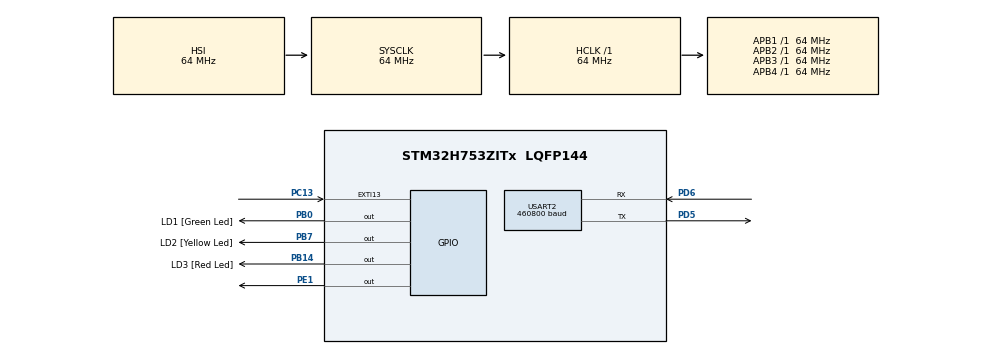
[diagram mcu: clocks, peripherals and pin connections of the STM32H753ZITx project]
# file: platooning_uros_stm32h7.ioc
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CORTEX_M7.CPU_DCache=Disabled
CORTEX_M7.CPU_ICache=Disabled
CORTEX_M7.MPU_Control=__NULL
CORTEX_M7.default_mode_Activation=1
FREERTOS.Tasks01=uROSTask,24,3000,StartUROSTask,Default,NULL,Dynamic,NULL,NULL;ctrlTask,23,128,StartCrtlTask,Default,NULL,Dynamic,NULL,NULL
Mcu.Family=STM32H7
Mcu.Name=STM32H753ZITx
Mcu.Package=LQFP144
NVIC.EXTI15_10_IRQn=true\:5\:0\:false\:false\:true\:true\:true\:true\:true
NVIC.PriorityGroup=NVIC_PRIORITYGROUP_4
NVIC.TIM1_UP_IRQn=true\:15\:0\:false\:false\:true\:false\:false\:true\:true
NVIC.TimeBase=TIM1_UP_IRQn
NVIC.TimeBaseIP=TIM1
NVIC.USART2_IRQn=true\:5\:0\:false\:false\:true\:true\:true\:true\:true
PB0.GPIO_Label=LD1 [Green Led]
PB0.Signal=GPIO_Output
PB14.GPIO_Label=LD3 [Red Led]
PB14.Signal=GPIO_Output
PB7.GPIO_Label=LD2 [Yellow Led]
PB7.Signal=GPIO_Output
PC13.GPIO_ModeDefaultEXTI=GPIO_MODE_IT_RISING_FALLING
PC13.Signal=GPXTI13
PC14-OSC32_IN\ (OSC32_IN).Signal=RCC_OSC32_IN
PC15-OSC32_OUT\ (OSC32_OUT).Signal=RCC_OSC32_OUT
PD5.Mode=Asynchronous
PD5.Signal=USART2_TX
PD6.Mode=Asynchronous
PD6.Signal=USART2_RX
PD8.GPIO_Label=STLINK_RX
PD8.Signal=USART3_TX
PD9.GPIO_Label=STLINK_TX
PD9.Signal=USART3_RX
PE1.Signal=GPIO_Output
PH0-OSC_IN\ (PH0).Mode=HSE-External-Oscillator
PH0-OSC_IN\ (PH0).Signal=RCC_OSC_IN
PH1-OSC_OUT\ (PH1).Mode=HSE-External-Oscillator
PH1-OSC_OUT\ (PH1).Signal=RCC_OSC_OUT
ProjectManager.HeapSize=0x200
ProjectManager.StackSize=0x400
ProjectManager.TargetToolchain=Makefile
RCC.ADCFreq_Value=129000000
RCC.APB1Freq_Value=64000000
RCC.APB2Freq_Value=64000000
RCC.APB3Freq_Value=64000000
RCC.APB4Freq_Value=64000000
RCC.CortexFreq_Value=64000000
RCC.DIVM1=1
RCC.DIVN1=24
RCC.DIVQ1=4
RCC.HCLKFreq_Value=64000000
RCC.HSE_VALUE=8000000
RCC.PLLFRACN=0
RCC.PWR_Regulator_Voltage_Scale=PWR_REGULATOR_VOLTAGE_SCALE2
RCC.SYSCLKFreq_VALUE=64000000
RCC.USBCLockSelection=RCC_USBCLKSOURCE_HSI48
RCC.USBFreq_Value=48000000
USART2.BaudRate=460800
USART2.VirtualMode-Asynchronous=VM_ASYNC
VP_FREERTOS_VS_CMSIS_V2.Mode=CMSIS_V2
VP_MEMORYMAP_VS_MEMORYMAP.Mode=CurAppReg
VP_SYS_VS_tim1.Mode=TIM1
board=NUCLEO-H753ZI

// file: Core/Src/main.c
/* USER CODE BEGIN Header */
/**
 ******************************************************************************
 * @file           : main.c
 * @brief          : Main program body
 ******************************************************************************
 * @attention
 *
 * Copyright (c) 2025 STMicroelectronics.
 * All rights reserved.
 *
 * This software is licensed under terms that can be found in the LICENSE file
 * in the root directory of this software component.
 * If no LICENSE file comes with this software, it is provided AS-IS.
 *
 ******************************************************************************
 */
/* USER CODE END Header */
#include "main.h"
#include "cmsis_os.h"

/* USER CODE BEGIN Includes */
#include <rcl/rcl.h>
#include <rcl/error_handling.h>
#include <rclc/rclc.h>
#include <rclc/executor.h>
#include <uxr/client/transport.h>
#include <rmw_microxrcedds_c/config.h>
#include <rmw_microros/rmw_microros.h>

#include <std_msgs/msg/float32.h>
#include <std_msgs/msg/u_int32.h>
#include <platooning_msgs/msg/vehicle_state.h>
#include <etsi_its_lite_msgs/msg/cam.h>
// #include <sts_msgs/msg/bool.h>

#include <stdbool.h>
#include <string.h>
#include <stdio.h>

#include "vehicle_controller.h"

#include "FreeRTOS.h"
#include "task.h"

/* USER CODE END Includes */

/* USER CODE BEGIN PM */

volatile rcl_ret_t g_last_rc = RCL_RET_OK;
char g_last_err[128] = {0};
const char *g_last_check_expr = NULL;
const char *g_last_check_file = NULL;
volatile uint32_t g_last_check_line = 0;

#define CHECK(fn)                                                  \
	do                                                             \
	{                                                              \
		rcl_ret_t rc_ = (fn);                                      \
		if (rc_ != RCL_RET_OK)                                     \
		{                                                          \
			g_last_rc = rc_;                                       \
			g_last_check_expr = #fn;                                \
			g_last_check_file = __FILE__;                           \
			g_last_check_line = (uint32_t)__LINE__;                 \
			const rcl_error_string_t err = rcl_get_error_string(); \
			strncpy(g_last_err, err.str, sizeof(g_last_err) - 1);  \
			g_last_err[sizeof(g_last_err) - 1] = '\0';             \
			rcl_reset_error();                                      \
			HAL_GPIO_WritePin(GPIOE, GPIO_PIN_1, GPIO_PIN_SET);    \
			__BKPT(0);                                             \
			while (1)                                              \
			{                                                      \
				__NOP();                                           \
			}                                                      \
		}                                                          \
	} while (0)
/* USER CODE END PM */

UART_HandleTypeDef huart2;

/* Definitions for uROSTask */
osThreadId_t uROSTaskHandle;
const osThreadAttr_t uROSTask_attributes = {
	.name = "uROSTask",
	.stack_size = 3000 * 4,
	.priority = (osPriority_t)osPriorityNormal,
};
/* Definitions for ctrlTask */
osThreadId_t ctrlTaskHandle;
const osThreadAttr_t ctrlTask_attributes = {
	.name = "ctrlTask",
	.stack_size = 128 * 4,
	.priority = (osPriority_t)osPriorityBelowNormal7,
};
/* USER CODE BEGIN PV */

// New vehicle controller and params
// ==============================================
volatile vehicle_controller_t vehicle_controller;

// Vehicle controller immutable params.
// Should match Python node's values
vehicle_controller_params_t controller_params = {
    // Platoon position, MUST match the --mcu-index arg when
    // launching the CARLA test
    .platoon_index = 3,
    // Spacing setpoint changing params
    .desired_time_headway_s = 0.5f,
    .min_spacing_m = 8.0f,
    // Single speed PID test mode:
    // Disable local-setpoint shaping by setting gains to 0 so the controller
    // tracks only the commanded speed setpoint (no spacing correction).
    .k_dist_normal = 0.8f,
    .k_vel_normal = 0.0f,
    .k_dist_urgent = 0.8f,
    .k_vel_urgent = 0.0f,
    .ttc_panic_s = 2.0f,
    .dist_err_deadband_m = 0.0f,
    .vel_diff_deadband_mps = 0.0f,
    // Python test passes K_brake=0.7 to PlatooningROSCAM.
    // Keep this aligned so that braking aggressiveness matches the thesis test.
    .k_brake = 0.7f,
    // Brake maps for braking intent
    // TODO change placeholders with CARLA mapping
    .brake_map_low = {
        .min_decel = 1.0f,
        .max_decel = 5.0f,
        .min_brake = 0.05f,
        .max_brake = 0.5f,
    },
    .brake_map_mid = {
        .min_decel = 1.0f,
        .max_decel = 6.0f,
        .min_brake = 0.05f,
        .max_brake = 0.5f,
    },
    .brake_map_high = {
        .min_decel = 1.0f,
        .max_decel = 8.0f,
        .min_brake = 0.05f,
        .max_brake = 0.5f,
    },
    // Speed gain scheduling config
    .speed_sp_min_mps = 0.0f,
    .speed_sp_max_mps = 33.33f,
    .v1_mps = 11.11f,
    .v2_mps = 22.22f,
    .hysteresis_mps = 1.0f,
    // Braking supervisor config
    // Disable brake mapping: fall back to signed PID throttle/brake everywhere.
    .brake_enable = true,
	.brake_map_max_dist_m = 8.0f,
	.brake_deadband = 0.02f,
    .brake_rate_limit_per_s = 1.0f,
    // PID Parameters
    // ====================================================
    //      Gains for scheduling
    .gains_low = {
        .kp = 0.1089194f,
        .ki = 0.04906409f,
        .kd = 0.0f,
        .n = 7.718222f,
    },
    .gains_mid = {
		.kp = 0.11494122f,
		.ki = 0.0489494f,
		.kd = 0.0f,
		.n = 5.0f,
    },
    .gains_high = {
        .kp = 0.19021246f,
        .ki = 0.15704399f,
        .kd = 0.0f,
        .n = 12.70886655f,
    },
    // =====================================================
    // Brake gates and histeresis
    .dist_off_m = 0.5f,
	.dist_on_m = 1.0f,
	.ttc_on_s = 2.5f,
	.ttc_off_s = 3.2f,
	.v_margin_on_mps = 0.5f,
	.v_margin_off_mps = 0.2f,
	// Deccel targets
	.decel_mild = 1.0f,
	.decel_mod = 2.5f,
	.decel_full = 5.0f,
	// Cooperative braking intent handling (used by brake mapping)
	.coop_enable = true,
	.coop_timeout_s = 0.3f,
	.coop_gain = 2.0f,
	.coop_decel_off = 0.1f,
	.coop_decel_on = 0.2f,
	.pid_ts_s = 0.01f,
	.tick_hz = configTICK_RATE_HZ

};
// ==============================================

// DEBUGGING vars
// ---- Timing debug (ticks; with 1kHz tick, 1 tick ~= 1ms) ----
volatile TickType_t g_dbg_ctrl_tick = 0;
volatile TickType_t g_dbg_uros_tick = 0;

volatile TickType_t g_dbg_ctrl_period_ticks = 0;
volatile TickType_t g_dbg_ctrl_period_ticks_max = 0;
volatile TickType_t g_dbg_ctrl_period_ticks_min = 0xFFFFFFFFu;
volatile TickType_t g_dbg_uros_spin_period_ticks = 0;
// DEBUG ----- max gap between executor spins (ticks; 1 tick ~= 1ms at 1kHz)
volatile TickType_t g_dbg_uros_spin_gap_max_ticks = 0;

volatile TickType_t g_dbg_uros_last_pub_tick = 0;
volatile TickType_t g_dbg_ctrl_phase_since_pub_ticks = 0;

volatile TickType_t g_dbg_ctrl_speed_age_ticks = 0;
volatile TickType_t g_dbg_ctrl_dist_age_ticks = 0;
volatile TickType_t g_dbg_ctrl_platoon_sp_age_ticks = 0;
volatile TickType_t g_dbg_ctrl_speed_age_ticks_max = 0;
volatile TickType_t g_dbg_ctrl_dist_age_ticks_max = 0;
volatile TickType_t g_dbg_ctrl_platoon_sp_age_ticks_max = 0;
volatile TickType_t g_dbg_ctrl_speed_age_ticks_min = 0xFFFFFFFFu;
volatile TickType_t g_dbg_ctrl_dist_age_ticks_min = 0xFFFFFFFFu;
volatile TickType_t g_dbg_ctrl_platoon_sp_age_ticks_min = 0xFFFFFFFFu;

volatile TickType_t g_dbg_uros_cmd_age_ticks = 0;
volatile TickType_t g_dbg_uros_cmd_age_min_ticks = 0xFFFFFFFFu;
volatile TickType_t g_dbg_uros_cmd_age_max_ticks = 0;

volatile uint32_t g_dbg_uros_publish_count = 0;
volatile uint32_t g_dbg_ctrl_compute_count = 0;

// micro-ROS allocator counters (counts only; heap bytes are reported via FreeRTOS heap APIs)
volatile uint32_t g_dbg_microros_alloc_count = 0;
volatile uint32_t g_dbg_microros_free_count = 0;
volatile uint32_t g_dbg_microros_realloc_count = 0;
volatile uint32_t g_dbg_microros_calloc_count = 0;

// micro-ROS allocator byte accounting (from microros_allocators.c)
extern int usedMemory;
extern int absoluteUsedMemory;

// DEBUG -------------------------------
// Hz debug: callback rates measured over a 1s tick window.
volatile uint32_t g_dbg_speed_cb_count_total = 0;
volatile uint32_t g_dbg_dist_cb_count_total = 0;
volatile uint32_t g_dbg_platoon_sp_cb_count_total = 0;

volatile uint32_t g_dbg_speed_hz_1s = 0;
volatile uint32_t g_dbg_dist_hz_1s = 0;
volatile uint32_t g_dbg_platoon_sp_hz_1s = 0;

volatile TickType_t g_dbg_hz_window_start_tick = 0;
// DEBUG -------------------------------

// Platoon participation config
const char *preceding_veh_name = "veh_2";
const char *participant_name = "veh_3";
volatile bool platoon_enabled = true;

// Publishers
rcl_publisher_t throttle_pub;
rcl_publisher_t brake_pub;
rcl_publisher_t braking_intent_pub;
rcl_publisher_t local_sp_pub;
// Cooperative ETSI CAM publisher
rcl_publisher_t cam_pub;

// Diagnostics publishers
//rcl_publisher_t diag_free_heap_pub;
//rcl_publisher_t diag_min_ever_free_heap_pub;
//rcl_publisher_t diag_uros_stack_free_pub;
//rcl_publisher_t diag_ctrl_stack_free_pub;
//rcl_publisher_t diag_microros_alloc_pub;
//rcl_publisher_t diag_microros_free_pub;
//rcl_publisher_t diag_microros_realloc_pub;
//rcl_publisher_t diag_microros_calloc_pub;
//rcl_publisher_t diag_microros_used_bytes_pub;
//rcl_publisher_t diag_microros_abs_used_bytes_pub;

// Subscribers
rcl_subscription_t r_sub;				   // Speed setpoint
rcl_subscription_t state_sub;			   // Ego state bundle (speed, distance, ...)
rcl_subscription_t plat_r_sub;			   // Platoon speed setpoint
rcl_subscription_t prec_cam_sub;           // Preceding vehicle CAM
// rcl_subscription_t in_platoon_msg; // For later >:P

// Message typedef to store readings in subscription callbacks
std_msgs__msg__Float32 r_msg;
std_msgs__msg__Float32 plat_r_msg;
platooning_msgs__msg__VehicleState state_msg;
etsi_its_lite_msgs__msg__CAM prec_cam_msg;

// volatile sts_msgs__msg__Bool in_platoon_msg; // For later >:P

// Message typedef to store data before publishing
std_msgs__msg__Float32 throttle_msg;
std_msgs__msg__Float32 brake_msg;
std_msgs__msg__Float32 braking_intent_msg;
std_msgs__msg__Float32 local_sp_msg;
etsi_its_lite_msgs__msg__CAM cam_msg;

// Diagnostics message instances
//std_msgs__msg__UInt32 diag_free_heap_msg;
//std_msgs__msg__UInt32 diag_min_ever_free_heap_msg;
//std_msgs__msg__UInt32 diag_uros_stack_free_msg;
//std_msgs__msg__UInt32 diag_ctrl_stack_free_msg;
//std_msgs__msg__UInt32 diag_microros_alloc_msg;
//std_msgs__msg__UInt32 diag_microros_free_msg;
//std_msgs__msg__UInt32 diag_microros_realloc_msg;
//std_msgs__msg__UInt32 diag_microros_calloc_msg;
//std_msgs__msg__UInt32 diag_microros_used_bytes_msg;
//std_msgs__msg__UInt32 diag_microros_abs_used_bytes_msg;

rclc_support_t support;
rcl_allocator_t allocator;
rcl_node_t node;
rclc_executor_t executor;

uint32_t rx_count = 0;
// TODO Remove button use, not useful in this project
char BspButtonState = 0;

volatile uint8_t control_task_rdy = 0;
volatile uint8_t uros_task_rdy = 0;

volatile rcl_ret_t glob_ret = RCL_RET_OK;

/* USER CODE END PV */

void SystemClock_Config(void);
static void MX_GPIO_Init(void);
static void MX_USART2_UART_Init(void);
void StartUROSTask(void *argument);
void StartCrtlTask(void *argument);

/* USER CODE BEGIN PFP */
bool cubemx_transport_open(struct uxrCustomTransport *transport);
bool cubemx_transport_close(struct uxrCustomTransport *transport);
size_t cubemx_transport_write(struct uxrCustomTransport *transport,
							  const uint8_t *buf, size_t len, uint8_t *err);
size_t cubemx_transport_read(struct uxrCustomTransport *transport, uint8_t *buf,
							 size_t len, int timeout, uint8_t *err);

void *microros_allocate(size_t size, void *state);
void microros_deallocate(void *pointer, void *state);
void *microros_reallocate(void *pointer, size_t size, void *state);
void *microros_zero_allocate(size_t number_of_elements, size_t size_of_element,
							 void *state);

/* USER CODE END PFP */

/* USER CODE BEGIN 0 */

typedef struct
{
	volatile uint32_t seq;
	volatile float speed_mps;
	volatile float dist_to_front_m;
	volatile float indiv_setpoint_mps;
	volatile float platoon_setpoint_mps;
	volatile float preceding_speed_mps;
	volatile float preceding_braking_intent_mps2;

	volatile TickType_t speed_tick;
	volatile TickType_t dist_tick;
	volatile TickType_t indiv_setpoint_tick;
	volatile TickType_t platoon_setpoint_tick;
	volatile TickType_t preceding_speed_tick;
	volatile TickType_t preceding_braking_intent_tick;
} platoon_input_mailbox_t;

typedef struct
{
	volatile uint32_t seq;
	volatile float throttle;
	volatile float brake;
	volatile float braking_intent;
	volatile float local_sp;
	volatile TickType_t computed_tick;
} platoon_output_mailbox_t;

typedef struct
{
	float speed_mps;
	float distance_to_front_m;
	float indiv_setpoint_mps;
	float platoon_setpoint_mps;
	float preceding_speed_mps;
	float preceding_braking_intent_mps2;
} ctrl_inputs_snapshot_t;

static platoon_input_mailbox_t g_in_mb = {0};
static platoon_output_mailbox_t g_out_mb = {0};

static volatile uint8_t g_have_preceding_braking_intent = 0;
static TickType_t g_last_cam_pub_tick = 0;

static inline void in_mb_write_begin(void) { g_in_mb.seq++; }
static inline void in_mb_write_end(void) { g_in_mb.seq++; }
static inline void out_mb_write_begin(void) { g_out_mb.seq++; }
static inline void out_mb_write_end(void) { g_out_mb.seq++; }

static bool in_mb_read_snapshot(ctrl_inputs_snapshot_t *out,
								TickType_t *speed_tick,
								TickType_t *dist_tick,
								TickType_t *indiv_setpoint_tick,
								TickType_t *platoon_setpoint_tick,
								TickType_t *preceding_speed_tick,
								TickType_t *preceding_braking_intent_tick)
{
	if (out == NULL)
	{
		return false;
	}
	for (uint32_t tries = 0; tries < 8; tries++)
	{
		uint32_t s1 = g_in_mb.seq;
		if (s1 & 1u)
		{
			continue;
		}

		out->speed_mps = g_in_mb.speed_mps;
		out->distance_to_front_m = g_in_mb.dist_to_front_m;
		out->indiv_setpoint_mps = g_in_mb.indiv_setpoint_mps;
		out->platoon_setpoint_mps = g_in_mb.platoon_setpoint_mps;
		out->preceding_speed_mps = g_in_mb.preceding_speed_mps;
		out->preceding_braking_intent_mps2 = g_in_mb.preceding_braking_intent_mps2;

		if (speed_tick)
		{
			*speed_tick = g_in_mb.speed_tick;
		}
		if (dist_tick)
		{
			*dist_tick = g_in_mb.dist_tick;
		}
		if (indiv_setpoint_tick)
		{
			*indiv_setpoint_tick = g_in_mb.indiv_setpoint_tick;
		}
		if (platoon_setpoint_tick)
		{
			*platoon_setpoint_tick = g_in_mb.platoon_setpoint_tick;
		}
		if (preceding_speed_tick)
		{
			*preceding_speed_tick = g_in_mb.preceding_speed_tick;
		}
		if (preceding_braking_intent_tick)
		{
			*preceding_braking_intent_tick = g_in_mb.preceding_braking_intent_tick;
		}

		uint32_t s2 = g_in_mb.seq;
		if (s1 == s2)
		{
			return true;
		}
	}

	return false;
}

static bool out_mb_read_snapshot(float *throttle, float *brake, float *brake_intent, float *local_sp)
{
	if (throttle == NULL || brake == NULL || brake_intent == NULL || local_sp == NULL)
	{
		return false;
	}

	for (uint32_t tries = 0; tries < 8; tries++)
	{
		uint32_t s1 = g_out_mb.seq;
		if (s1 & 1u)
		{
			continue;
		}

		*throttle = g_out_mb.throttle;
		*brake = g_out_mb.brake;
		*brake_intent = g_out_mb.braking_intent;
		*local_sp = g_out_mb.local_sp;

		uint32_t s2 = g_out_mb.seq;
		if (s1 == s2)
		{
			return true;
		}
	}

	return false;
}

static inline float ramp_towards_zero(float value, float step)
{
	if (value > step)
	{
		return value - step;
	}
	return 0.0f;
}

static inline uint16_t clamp_u16(int32_t v, uint16_t lo, uint16_t hi)
{
	if (v < (int32_t)lo) return lo;
	if (v > (int32_t)hi) return hi;
	return (uint16_t)v;
}

static inline uint8_t clamp_u8(int32_t v, uint8_t lo, uint8_t hi)
{
	if (v < (int32_t)lo) return lo;
	if (v > (int32_t)hi) return hi;
	return (uint8_t)v;
}

// micro-ROS topic callback functions
// ======================================================================
void indiv_setpoint_sub_cb(const void *msgin)
{
	const std_msgs__msg__Float32 *msg = (const std_msgs__msg__Float32 *)msgin;
	in_mb_write_begin();
	g_in_mb.indiv_setpoint_mps = msg->data;
	g_in_mb.indiv_setpoint_tick = xTaskGetTickCount();
	in_mb_write_end();
}

void platoon_setpoint_sub_cb(const void *msgin)
{
	const std_msgs__msg__Float32 *msg = (const std_msgs__msg__Float32 *)msgin;
	// DEBUG -------------------------------
	g_dbg_platoon_sp_cb_count_total++;
	// DEBUG -------------------------------
	in_mb_write_begin();
	g_in_mb.platoon_setpoint_mps = msg->data;
	g_in_mb.platoon_setpoint_tick = xTaskGetTickCount();
	in_mb_write_end();
}

// Ego VehicleState bundle (speed + distance). This is the reference "tick":
// the controller runs when a new state sample is received.
void state_sub_cb(const void *msgin)
{
	const platooning_msgs__msg__VehicleState *msg = (const platooning_msgs__msg__VehicleState *)msgin;
	// DEBUG -------------------------------
	g_dbg_speed_cb_count_total++;
	g_dbg_dist_cb_count_total++;
	// DEBUG -------------------------------
	const TickType_t now = xTaskGetTickCount();
	in_mb_write_begin();
	g_in_mb.speed_mps = msg->speed_mps;
	g_in_mb.dist_to_front_m = msg->dist_to_prev;
	g_in_mb.speed_tick = now;
	g_in_mb.dist_tick = now;
	in_mb_write_end();
}

void prec_cam_cb(const void *msgin)
{
	const etsi_its_lite_msgs__msg__CAM *msg = (const etsi_its_lite_msgs__msg__CAM *)msgin;

	const uint16_t speed_raw = msg->cam.cam_parameters.high_frequency_container.speed;
	const uint8_t decel_raw = msg->cam.cam_parameters.high_frequency_container.deceleration_intent;

	// speed is m/s * 100, deceleration_intent is m/s^2 * 10
	const float speed_mps = ((float)speed_raw) / 100.0f;
	const float desired_decel_mps2 = ((float)decel_raw) / 10.0f;

	in_mb_write_begin();
	g_in_mb.preceding_speed_mps = speed_mps;
	g_in_mb.preceding_speed_tick = xTaskGetTickCount();
	g_in_mb.preceding_braking_intent_mps2 = desired_decel_mps2;
	g_in_mb.preceding_braking_intent_tick = xTaskGetTickCount();
	g_have_preceding_braking_intent = 1;
	in_mb_write_end();
}

// =========================================================================
// END micro-ROS topic callbacks

/* USER CODE END 0 */

int main(void)
{

	/* MCU Configuration--------------------------------------------------------*/

	/* Reset of all peripherals, Initializes the Flash interface and the Systick. */
	HAL_Init();

	/* Configure the system clock */
	SystemClock_Config();

	/* Initialize all configured peripherals */
	MX_GPIO_Init();
	MX_USART2_UART_Init();

	/* Init scheduler */
	osKernelInitialize();

	/* Create the thread(s) */
	/* creation of uROSTask */
	uROSTaskHandle = osThreadNew(StartUROSTask, NULL, &uROSTask_attributes);

	/* creation of ctrlTask */
	ctrlTaskHandle = osThreadNew(StartCrtlTask, NULL, &ctrlTask_attributes);

	/* Start scheduler */
	osKernelStart();

	/* We should never get here as control is now taken by the scheduler */

	/* Infinite loop */
	while (1)
	{

	}
}

void SystemClock_Config(void)
{
	RCC_OscInitTypeDef RCC_OscInitStruct = {0};
	RCC_ClkInitTypeDef RCC_ClkInitStruct = {0};

	/** Supply configuration update enable
	 */
	HAL_PWREx_ConfigSupply(PWR_LDO_SUPPLY);

	/** Configure the main internal regulator output voltage
	 */
	__HAL_PWR_VOLTAGESCALING_CONFIG(PWR_REGULATOR_VOLTAGE_SCALE2);

	while (!__HAL_PWR_GET_FLAG(PWR_FLAG_VOSRDY))
	{
	}

	/** Initializes the RCC Oscillators according to the specified parameters
	 * in the RCC_OscInitTypeDef structure.
	 */
	RCC_OscInitStruct.OscillatorType = RCC_OSCILLATORTYPE_HSI;
	RCC_OscInitStruct.HSIState = RCC_HSI_DIV1;
	RCC_OscInitStruct.HSICalibrationValue = RCC_HSICALIBRATION_DEFAULT;
	RCC_OscInitStruct.PLL.PLLState = RCC_PLL_NONE;
	if (HAL_RCC_OscConfig(&RCC_OscInitStruct) != HAL_OK)
	{
		Error_Handler();
	}

	/** Initializes the CPU, AHB and APB buses clocks
	 */
	RCC_ClkInitStruct.ClockType = RCC_CLOCKTYPE_HCLK | RCC_CLOCKTYPE_SYSCLK | RCC_CLOCKTYPE_PCLK1 | RCC_CLOCKTYPE_PCLK2 | RCC_CLOCKTYPE_D3PCLK1 | RCC_CLOCKTYPE_D1PCLK1;
	RCC_ClkInitStruct.SYSCLKSource = RCC_SYSCLKSOURCE_HSI;
	RCC_ClkInitStruct.SYSCLKDivider = RCC_SYSCLK_DIV1;
	RCC_ClkInitStruct.AHBCLKDivider = RCC_HCLK_DIV1;
	RCC_ClkInitStruct.APB3CLKDivider = RCC_APB3_DIV1;
	RCC_ClkInitStruct.APB1CLKDivider = RCC_APB1_DIV1;
	RCC_ClkInitStruct.APB2CLKDivider = RCC_APB2_DIV1;
	RCC_ClkInitStruct.APB4CLKDivider = RCC_APB4_DIV1;

	if (HAL_RCC_ClockConfig(&RCC_ClkInitStruct, FLASH_LATENCY_1) != HAL_OK)
	{
		Error_Handler();
	}
}

static void MX_USART2_UART_Init(void)
{

	huart2.Instance = USART2;
	huart2.Init.BaudRate = 460800;
	huart2.Init.WordLength = UART_WORDLENGTH_8B;
	huart2.Init.StopBits = UART_STOPBITS_1;
	huart2.Init.Parity = UART_PARITY_NONE;
	huart2.Init.Mode = UART_MODE_TX_RX;
	huart2.Init.HwFlowCtl = UART_HWCONTROL_NONE;
	huart2.Init.OverSampling = UART_OVERSAMPLING_16;
	huart2.Init.OneBitSampling = UART_ONE_BIT_SAMPLE_DISABLE;
	huart2.Init.ClockPrescaler = UART_PRESCALER_DIV1;
	huart2.AdvancedInit.AdvFeatureInit = UART_ADVFEATURE_NO_INIT;
	if (HAL_UART_Init(&huart2) != HAL_OK)
	{
		Error_Handler();
	}
	if (HAL_UARTEx_SetTxFifoThreshold(&huart2, UART_TXFIFO_THRESHOLD_1_8) != HAL_OK)
	{
		Error_Handler();
	}
	if (HAL_UARTEx_SetRxFifoThreshold(&huart2, UART_RXFIFO_THRESHOLD_1_8) != HAL_OK)
	{
		Error_Handler();
	}
	if (HAL_UARTEx_DisableFifoMode(&huart2) != HAL_OK)
	{
		Error_Handler();
	}
}

static void MX_GPIO_Init(void)
{
	GPIO_InitTypeDef GPIO_InitStruct = {0};

	/* GPIO Ports Clock Enable */
	__HAL_RCC_GPIOC_CLK_ENABLE();
	__HAL_RCC_GPIOH_CLK_ENABLE();
	__HAL_RCC_GPIOB_CLK_ENABLE();
	__HAL_RCC_GPIOD_CLK_ENABLE();
	__HAL_RCC_GPIOE_CLK_ENABLE();

	/*Configure GPIO pin Output Level */
	HAL_GPIO_WritePin(GPIOB, LD1_Pin | LD3_Pin | LD2_Pin, GPIO_PIN_RESET);

	/*Configure GPIO pin Output Level */
	HAL_GPIO_WritePin(GPIOE, GPIO_PIN_1, GPIO_PIN_RESET);

	/*Configure GPIO pin : PC13 */
	GPIO_InitStruct.Pin = GPIO_PIN_13;
	GPIO_InitStruct.Mode = GPIO_MODE_IT_RISING_FALLING;
	GPIO_InitStruct.Pull = GPIO_NOPULL;
	HAL_GPIO_Init(GPIOC, &GPIO_InitStruct);

	/*Configure GPIO pins : LD1_Pin LD3_Pin LD2_Pin */
	GPIO_InitStruct.Pin = LD1_Pin | LD3_Pin | LD2_Pin;
	GPIO_InitStruct.Mode = GPIO_MODE_OUTPUT_PP;
	GPIO_InitStruct.Pull = GPIO_NOPULL;
	GPIO_InitStruct.Speed = GPIO_SPEED_FREQ_LOW;
	HAL_GPIO_Init(GPIOB, &GPIO_InitStruct);

	/*Configure GPIO pins : STLINK_RX_Pin STLINK_TX_Pin */
	GPIO_InitStruct.Pin = STLINK_RX_Pin | STLINK_TX_Pin;
	GPIO_InitStruct.Mode = GPIO_MODE_AF_PP;
	GPIO_InitStruct.Pull = GPIO_NOPULL;
	GPIO_InitStruct.Speed = GPIO_SPEED_FREQ_LOW;
	GPIO_InitStruct.Alternate = GPIO_AF7_USART3;
	HAL_GPIO_Init(GPIOD, &GPIO_InitStruct);

	/*Configure GPIO pin : PE1 */
	GPIO_InitStruct.Pin = GPIO_PIN_1;
	GPIO_InitStruct.Mode = GPIO_MODE_OUTPUT_PP;
	GPIO_InitStruct.Pull = GPIO_NOPULL;
	GPIO_InitStruct.Speed = GPIO_SPEED_FREQ_LOW;
	HAL_GPIO_Init(GPIOE, &GPIO_InitStruct);

	/* EXTI interrupt init*/
	HAL_NVIC_SetPriority(EXTI15_10_IRQn, 5, 0);
	HAL_NVIC_EnableIRQ(EXTI15_10_IRQn);

}

/* USER CODE BEGIN 4 */
void HAL_GPIO_EXTI_Callback(uint16_t GPIO_Pin)
{
	if (GPIO_Pin == GPIO_PIN_13)
	{
		BspButtonState = 1;
	}
}

/* USER CODE END 4 */

void StartUROSTask(void *argument)
{
	/* USER CODE BEGIN 5 */

	// micro-ROS configuration
	/*
	 * Turn off LEDs. Not needed but whatever
	 */
	HAL_GPIO_WritePin(GPIOE, GPIO_PIN_1, GPIO_PIN_RESET); // Orange LED??
	HAL_GPIO_WritePin(GPIOB, GPIO_PIN_14, GPIO_PIN_RESET);

	rmw_uros_set_custom_transport(
		true, (void *)&huart2, cubemx_transport_open, cubemx_transport_close,
		cubemx_transport_write, cubemx_transport_read);

	// Wait for micro-ROS Agent to start and be available
	while (rmw_uros_ping_agent(1000, 1) != RCL_RET_OK)
	{
		vTaskDelay(pdMS_TO_TICKS(100));
	}

	HAL_GPIO_WritePin(GPIOB, GPIO_PIN_14, GPIO_PIN_SET);

	// Micro-ROS Setup
	// ========================================================================================
	rcl_allocator_t freeRTOS_allocator =
		rcutils_get_zero_initialized_allocator();
	freeRTOS_allocator.allocate = microros_allocate;
	freeRTOS_allocator.deallocate = microros_deallocate;
	freeRTOS_allocator.reallocate = microros_reallocate;
	freeRTOS_allocator.zero_allocate = microros_zero_allocate;

	if (!rcutils_set_default_allocator(&freeRTOS_allocator))
	{
		__BKPT(0); // Stop to check if allocator not set correctly
		while (1)
		{
			__NOP();
		}
	}

	// micro-ROS app

	allocator = rcl_get_default_allocator();

	rcl_init_options_t init_options = rcl_get_zero_initialized_init_options();
	rcl_init_options_init(&init_options, allocator);
	rcl_init_options_set_domain_id(&init_options, 35);

	rclc_support_init_with_options(&support, 0, NULL, &init_options, &allocator);

	// Topic/name helpers
	char tmpbuff[150];
	snprintf(tmpbuff, sizeof(tmpbuff), "%s_node", participant_name);
	CHECK(rclc_node_init_default(&node, tmpbuff, "", &support));

	// Initialize message structs used by executor/publishers (avoid uninitialized memory)
	(void)platooning_msgs__msg__VehicleState__init(&state_msg);
	(void)etsi_its_lite_msgs__msg__CAM__init(&cam_msg);
	//(void)std_msgs__msg__UInt32__init(&diag_free_heap_msg);
	//(void)std_msgs__msg__UInt32__init(&diag_min_ever_free_heap_msg);
	//(void)std_msgs__msg__UInt32__init(&diag_uros_stack_free_msg);
	//(void)std_msgs__msg__UInt32__init(&diag_ctrl_stack_free_msg);
	//(void)std_msgs__msg__UInt32__init(&diag_microros_alloc_msg);
	//(void)std_msgs__msg__UInt32__init(&diag_microros_free_msg);
	//(void)std_msgs__msg__UInt32__init(&diag_microros_realloc_msg);
	//(void)std_msgs__msg__UInt32__init(&diag_microros_calloc_msg);
	//(void)std_msgs__msg__UInt32__init(&diag_microros_used_bytes_msg);
	//(void)std_msgs__msg__UInt32__init(&diag_microros_abs_used_bytes_msg);
	(void)etsi_its_lite_msgs__msg__CAM__init(&prec_cam_msg);

	// PUBS ------------------------------------------------------------

	snprintf(tmpbuff, sizeof(tmpbuff), "%s/command/throttle", participant_name);
	CHECK(rclc_publisher_init_best_effort(&throttle_pub, &node,
										  ROSIDL_GET_MSG_TYPE_SUPPORT(std_msgs, msg, Float32),
										  tmpbuff));

	snprintf(tmpbuff, sizeof(tmpbuff), "%s/command/brake", participant_name);
	CHECK(rclc_publisher_init_best_effort(&brake_pub, &node,
										  ROSIDL_GET_MSG_TYPE_SUPPORT(std_msgs, msg, Float32),
										  tmpbuff));

	snprintf(tmpbuff, sizeof(tmpbuff), "%s/state/desired_decel", participant_name);
	CHECK(rclc_publisher_init_best_effort(&braking_intent_pub, &node,
										  ROSIDL_GET_MSG_TYPE_SUPPORT(std_msgs, msg, Float32),
										  tmpbuff));

	snprintf(tmpbuff, sizeof(tmpbuff), "%s/state/local_setpoint", participant_name);
	CHECK(rclc_publisher_init_best_effort(&local_sp_pub, &node,
										  ROSIDL_GET_MSG_TYPE_SUPPORT(std_msgs, msg, Float32),
										  tmpbuff));

	// ETSI CAM publisher (Python side subscribes to /veh_0/cam)
	snprintf(tmpbuff, sizeof(tmpbuff), "/%s/cam", participant_name);
	CHECK(rclc_publisher_init_best_effort(&cam_pub, &node,
										  ROSIDL_GET_MSG_TYPE_SUPPORT(etsi_its_lite_msgs, msg, CAM),
										  tmpbuff));

//	// Diagnostics publishers (UInt32), published periodically (1 Hz)
	//CHECK(rclc_publisher_init_best_effort(&diag_free_heap_pub, &node,
								 //ROSIDL_GET_MSG_TYPE_SUPPORT(std_msgs, msg, UInt32),
								 //"veh_3/diag/free_heap_bytes"));
	//CHECK(rclc_publisher_init_best_effort(&diag_min_ever_free_heap_pub, &node,
								 //ROSIDL_GET_MSG_TYPE_SUPPORT(std_msgs, msg, UInt32),
								 //"veh_3/diag/min_ever_free_heap_bytes"));
	//CHECK(rclc_publisher_init_best_effort(&diag_uros_stack_free_pub, &node,
								 //ROSIDL_GET_MSG_TYPE_SUPPORT(std_msgs, msg, UInt32),
								 //"veh_3/diag/uros_stack_free_bytes"));
	//CHECK(rclc_publisher_init_best_effort(&diag_ctrl_stack_free_pub, &node,
								 //ROSIDL_GET_MSG_TYPE_SUPPORT(std_msgs, msg, UInt32),
								 //"veh_3/diag/ctrl_stack_free_bytes"));
	//CHECK(rclc_publisher_init_best_effort(&diag_microros_alloc_pub, &node,
								 //ROSIDL_GET_MSG_TYPE_SUPPORT(std_msgs, msg, UInt32),
								 //"veh_3/diag/microros_alloc_count"));
	//CHECK(rclc_publisher_init_best_effort(&diag_microros_free_pub, &node,
								 //ROSIDL_GET_MSG_TYPE_SUPPORT(std_msgs, msg, UInt32),
								 //"veh_3/diag/microros_free_count"));
	//CHECK(rclc_publisher_init_best_effort(&diag_microros_realloc_pub, &node,
								 //ROSIDL_GET_MSG_TYPE_SUPPORT(std_msgs, msg, UInt32),
								 //"veh_3/diag/microros_realloc_count"));
	//CHECK(rclc_publisher_init_best_effort(&diag_microros_calloc_pub, &node,
								 //ROSIDL_GET_MSG_TYPE_SUPPORT(std_msgs, msg, UInt32),
								 //"veh_3/diag/microros_calloc_count"));
	//CHECK(rclc_publisher_init_best_effort(&diag_microros_used_bytes_pub, &node,
								 //ROSIDL_GET_MSG_TYPE_SUPPORT(std_msgs, msg, UInt32),
								 //"veh_3/diag/microros_used_bytes"));
	//CHECK(rclc_publisher_init_best_effort(&diag_microros_abs_used_bytes_pub, &node,
								 //ROSIDL_GET_MSG_TYPE_SUPPORT(std_msgs, msg, UInt32),
								 //"veh_3/diag/microros_total_allocated_bytes"));

	// SUBS -------------------------------------------------------------

	snprintf(tmpbuff, sizeof(tmpbuff), "/%s/state", participant_name);
	CHECK(rclc_subscription_init_best_effort(&state_sub, &node,
												 ROSIDL_GET_MSG_TYPE_SUPPORT(platooning_msgs, msg, VehicleState),
												 tmpbuff));

	snprintf(tmpbuff, sizeof(tmpbuff), "%s/state/setpoint", participant_name);
	CHECK(rclc_subscription_init_best_effort(&r_sub, &node,
												 ROSIDL_GET_MSG_TYPE_SUPPORT(std_msgs, msg, Float32),
												 tmpbuff));

	CHECK(rclc_subscription_init_best_effort(&plat_r_sub, &node,
												 ROSIDL_GET_MSG_TYPE_SUPPORT(std_msgs, msg, Float32),
												 "platoon/plat_0/setpoint")); // TODO hardcoded platoon ID, must be changable later

	// Predecessor CAM subscription (veh_2 -> veh_3)
	snprintf(tmpbuff, sizeof(tmpbuff), "/%s/cam", preceding_veh_name);
	CHECK(rclc_subscription_init_best_effort(&prec_cam_sub, &node,
								 ROSIDL_GET_MSG_TYPE_SUPPORT(etsi_its_lite_msgs, msg, CAM),
								 tmpbuff));

	// Executor init -------------------------------------------------------------

	executor = rclc_executor_get_zero_initialized_executor();
	CHECK(rclc_executor_init(&executor, &support.context, 9, &allocator));

	CHECK(rclc_executor_add_subscription(&executor, &state_sub, &state_msg, &state_sub_cb,
											 ON_NEW_DATA));
	CHECK(rclc_executor_add_subscription(&executor, &r_sub, &r_msg, &indiv_setpoint_sub_cb,
											 ON_NEW_DATA));
	CHECK(rclc_executor_add_subscription(&executor, &plat_r_sub, &plat_r_msg, &platoon_setpoint_sub_cb,
											 ON_NEW_DATA));
	CHECK(rclc_executor_add_subscription(&executor, &prec_cam_sub, &prec_cam_msg, &prec_cam_cb,
								 ON_NEW_DATA));

	// Ensure XRCE session synchronized after creating entities
	rmw_uros_sync_session(1000);

	// Initial spin to confirm creation
	rclc_executor_spin_some(&executor, 10);

	// ======================================================================================

	// Initialize messages explicitly, avoid starting with trash values
	r_msg.data = 0.0f;
	plat_r_msg.data = 0.0f;
	throttle_msg.data = 0.0f;
	brake_msg.data = 0.0f;
	local_sp_msg.data = 0.0f;
	braking_intent_msg.data = 0.0f;

	// Initialize mailboxes to known values and mark them as fresh
	TickType_t now = xTaskGetTickCount();
	in_mb_write_begin();
	g_in_mb.speed_mps = 0.0f;
	g_in_mb.dist_to_front_m = 0.0f;
	g_in_mb.indiv_setpoint_mps = 0.0f;
	g_in_mb.platoon_setpoint_mps = 0.0f;
	g_in_mb.preceding_speed_mps = 0.0f;
	g_in_mb.preceding_braking_intent_mps2 = 0.0f;

	g_in_mb.speed_tick = now;
	g_in_mb.dist_tick = now;
	g_in_mb.indiv_setpoint_tick = now;
	g_in_mb.platoon_setpoint_tick = now;
	g_in_mb.preceding_speed_tick = now;
	g_in_mb.preceding_braking_intent_tick = now;

	in_mb_write_end();

	out_mb_write_begin();
	g_out_mb.throttle = 0.0f;
	g_out_mb.brake = 0.0f;
	g_out_mb.braking_intent = 0.0f;
	g_out_mb.local_sp = 0.0f;
	g_out_mb.computed_tick = now;
	out_mb_write_end();

	const TickType_t spinPeriod = pdMS_TO_TICKS(1);
	TickType_t lastWake = now;

	uros_task_rdy = 1;

	while (control_task_rdy != 1)
	{
		vTaskDelay(spinPeriod);
	}

	for (;;)
	{
		vTaskDelayUntil(&lastWake, spinPeriod);
		// DEBUG -----------------------------

		TickType_t now_spin = xTaskGetTickCount();
		static TickType_t prev_spin = 0;
		g_dbg_uros_tick = now_spin;
		g_dbg_uros_spin_period_ticks = (prev_spin == 0) ? 0 : (now_spin - prev_spin);
		if (prev_spin != 0)
		{
			TickType_t gap = now_spin - prev_spin;
			if (gap > g_dbg_uros_spin_gap_max_ticks)
				g_dbg_uros_spin_gap_max_ticks = gap;
		}
		prev_spin = now_spin;
		// -----------------------------------

		rclc_executor_spin_some(&executor, 2);

//		// MEMORY FOOTPRINT DIAGNOSTICS
		//// ============================================================================
		//static TickType_t last_diag_pub_tick = 0;
		//TickType_t now_diag = xTaskGetTickCount();
		//if ((last_diag_pub_tick == 0) || ((now_diag - last_diag_pub_tick) >= pdMS_TO_TICKS(1000)))
		//{
			//last_diag_pub_tick = now_diag;
			//uint32_t free_heap = (uint32_t)xPortGetFreeHeapSize();
			//uint32_t min_ever_free_heap = (uint32_t)xPortGetMinimumEverFreeHeapSize();
			//uint32_t uros_stack_free_b = (uint32_t)uxTaskGetStackHighWaterMark((TaskHandle_t)uROSTaskHandle) * (uint32_t)sizeof(StackType_t);
			//uint32_t ctrl_stack_free_b = (uint32_t)uxTaskGetStackHighWaterMark((TaskHandle_t)ctrlTaskHandle) * (uint32_t)sizeof(StackType_t);
			//uint32_t a_cnt, f_cnt, r_cnt, c_cnt;
			//taskENTER_CRITICAL();
			//a_cnt = g_dbg_microros_alloc_count;
			//f_cnt = g_dbg_microros_free_count;
			//r_cnt = g_dbg_microros_realloc_count;
			//c_cnt = g_dbg_microros_calloc_count;
			//taskEXIT_CRITICAL();
			//diag_free_heap_msg.data = free_heap;
			//diag_min_ever_free_heap_msg.data = min_ever_free_heap;
			//diag_uros_stack_free_msg.data = uros_stack_free_b;
			//diag_ctrl_stack_free_msg.data = ctrl_stack_free_b;
			//diag_microros_alloc_msg.data = a_cnt;
			//diag_microros_free_msg.data = f_cnt;
			//diag_microros_realloc_msg.data = r_cnt;
			//diag_microros_calloc_msg.data = c_cnt;
			//diag_microros_used_bytes_msg.data = (uint32_t)((usedMemory < 0) ? 0 : usedMemory);
			//diag_microros_abs_used_bytes_msg.data = (uint32_t)((absoluteUsedMemory < 0) ? 0 : absoluteUsedMemory);
			//(void)rcl_publish(&diag_free_heap_pub, &diag_free_heap_msg, NULL);
			//(void)rcl_publish(&diag_min_ever_free_heap_pub, &diag_min_ever_free_heap_msg, NULL);
			//(void)rcl_publish(&diag_uros_stack_free_pub, &diag_uros_stack_free_msg, NULL);
			//(void)rcl_publish(&diag_ctrl_stack_free_pub, &diag_ctrl_stack_free_msg, NULL);
			//(void)rcl_publish(&diag_microros_alloc_pub, &diag_microros_alloc_msg, NULL);
			//(void)rcl_publish(&diag_microros_free_pub, &diag_microros_free_msg, NULL);
			//(void)rcl_publish(&diag_microros_realloc_pub, &diag_microros_realloc_msg, NULL);
			//(void)rcl_publish(&diag_microros_calloc_pub, &diag_microros_calloc_msg, NULL);
			//(void)rcl_publish(&diag_microros_used_bytes_pub, &diag_microros_used_bytes_msg, NULL);
			//(void)rcl_publish(&diag_microros_abs_used_bytes_pub, &diag_microros_abs_used_bytes_msg, NULL);
		//}
		//// END DIAG ===============================================================================================

		// Publish immediately when a command is computed in control task
		uint32_t n = ulTaskNotifyTake(pdTRUE, 0);
		if (n > 0)
		{
			while (ulTaskNotifyTake(pdTRUE, 0) > 0)
			{
			}

			float throttle = 0.0f;
			float brake = 0.0f;
			float braking_intent = 0.0f;
			float local_sp = 0.0f;
			(void)out_mb_read_snapshot(&throttle, &brake, &braking_intent, &local_sp);
			throttle_msg.data = throttle;
			brake_msg.data = brake;
			braking_intent_msg.data = braking_intent;
			local_sp_msg.data = local_sp;

			now = xTaskGetTickCount();
			// DEBUG --------------------------
			TickType_t now_pub = now;
			g_dbg_uros_last_pub_tick = now_pub;
			g_dbg_uros_publish_count++;

			TickType_t age = now_pub - g_out_mb.computed_tick;
			g_dbg_uros_cmd_age_ticks = age;
			if (age < g_dbg_uros_cmd_age_min_ticks)
				g_dbg_uros_cmd_age_min_ticks = age;
			if (age > g_dbg_uros_cmd_age_max_ticks)
				g_dbg_uros_cmd_age_max_ticks = age;
			// -------------------------------

				CHECK(rcl_publish(&throttle_pub, &throttle_msg, NULL));
				CHECK(rcl_publish(&brake_pub, &brake_msg, NULL));
				CHECK(rcl_publish(&braking_intent_pub, &braking_intent_msg, NULL));
				CHECK(rcl_publish(&local_sp_pub, &local_sp_msg, NULL));

				// Publish ETSI CAM at ~10 Hz
				// Speed is encoded as m/s * 100, deceleration_intent as m/s^2 * 10. Like the ETSI CAM ANS.1 encoding
				if ((g_last_cam_pub_tick == 0) || ((now_pub - g_last_cam_pub_tick) >= pdMS_TO_TICKS(100)))
				{
					g_last_cam_pub_tick = now_pub;

					ctrl_inputs_snapshot_t in_snap = {0};
					(void)in_mb_read_snapshot(&in_snap, NULL, NULL, NULL, NULL, NULL, NULL);

					const float speed_mps = in_snap.speed_mps;
					const float decel_mps2 = braking_intent;

					cam_msg.header.protocol_version = 1;
					cam_msg.header.message_id = 2;
					cam_msg.header.station_id = (int32_t)controller_params.platoon_index;
					cam_msg.cam.timestamp = (uint32_t)(now_pub * portTICK_PERIOD_MS);

					cam_msg.cam.cam_parameters.basic_container.station_type = 5;
					cam_msg.cam.cam_parameters.basic_container.reference_position[0] = 0;
					cam_msg.cam.cam_parameters.basic_container.reference_position[1] = 0;
					cam_msg.cam.cam_parameters.basic_container.reference_position[2] = 0;

					const int32_t speed_i = (int32_t)lrintf(speed_mps * 100.0f);
					cam_msg.cam.cam_parameters.high_frequency_container.speed = clamp_u16(speed_i, 0, 65535);

					// No acceleration sensor on MCU side currently -> publish 0.
					cam_msg.cam.cam_parameters.high_frequency_container.longitudinal_acceleration = 0;

					uint8_t accel_ctrl = 0;
					if (brake > 0.01f) accel_ctrl |= 1u;   // brake engaged
					if (throttle > 0.01f) accel_ctrl |= 2u; // gas engaged
					cam_msg.cam.cam_parameters.high_frequency_container.aceleration_control = accel_ctrl;

					const int32_t decel_i = (int32_t)lrintf(fmaxf(0.0f, decel_mps2) * 10.0f);
					cam_msg.cam.cam_parameters.high_frequency_container.deceleration_intent = clamp_u8(decel_i, 0, 255);

					cam_msg.cam.cam_parameters.high_frequency_container.platoon_position = (uint8_t)controller_params.platoon_index;

					CHECK(rcl_publish(&cam_pub, &cam_msg, NULL));
				}
			}
		}
		/* USER CODE END 5 */
	}

void StartCrtlTask(void *argument)
{
	/* USER CODE BEGIN StartCrtlTask */
	controller_params.coop_enable = (controller_params.platoon_index != 0);
	if (vehicle_controller_init(&vehicle_controller, &controller_params) != VC_OK)
	{
		vTaskDelete(NULL);
	}

	const TickType_t ctrlPeriod = pdMS_TO_TICKS(10); // 100 Hz - 10ms, matches PID tuning Ts
	TickType_t lastWake = xTaskGetTickCount();

	const TickType_t speedStale = pdMS_TO_TICKS(50);
	const TickType_t distStale = pdMS_TO_TICKS(100);
	const float rampStep = 0.05f;

	float throttle_out = 0.0f;
	float brake_out = 0.0f;
	float braking_intent_out = 0.0f;
	float local_sp_out = 0.0f;

	control_task_rdy = 1;

	while (uros_task_rdy != 1)
	{
		vTaskDelay(ctrlPeriod);
	}

	for (;;)
	{
		// Fixed 100 Hz control loop; use the latest mailbox snapshot each tick.
		vTaskDelayUntil(&lastWake, ctrlPeriod);

		TickType_t now_ctrl = xTaskGetTickCount();

		// DEBUG -------------------------------
		static TickType_t prev_ctrl = 0;
		g_dbg_ctrl_tick = now_ctrl;
		g_dbg_ctrl_period_ticks = (prev_ctrl == 0) ? 0 : (now_ctrl - prev_ctrl);
		if (g_dbg_ctrl_period_ticks > g_dbg_ctrl_period_ticks_max) g_dbg_ctrl_period_ticks_max = g_dbg_ctrl_period_ticks;
		if (g_dbg_ctrl_period_ticks < g_dbg_ctrl_period_ticks_min) g_dbg_ctrl_period_ticks_min = g_dbg_ctrl_period_ticks;
		prev_ctrl = now_ctrl;
		// --------------------------------------

		// DEBUG -------------------------------
		// Compute callback Hz over a 1-second window (1kHz tick => 1000 ticks).
		// Values are written to g_dbg_*_hz_1s for Live Expressions.
		static uint32_t prev_speed_cb_total = 0;
		static uint32_t prev_dist_cb_total = 0;
		static uint32_t prev_platoon_sp_cb_total = 0;

		if (g_dbg_hz_window_start_tick == 0)
		{
			g_dbg_hz_window_start_tick = now_ctrl;
			prev_speed_cb_total = g_dbg_speed_cb_count_total;
			prev_dist_cb_total = g_dbg_dist_cb_count_total;
			prev_platoon_sp_cb_total = g_dbg_platoon_sp_cb_count_total;
		}

		if ((TickType_t)(now_ctrl - g_dbg_hz_window_start_tick) >= pdMS_TO_TICKS(1000))
		{
			g_dbg_speed_hz_1s = g_dbg_speed_cb_count_total - prev_speed_cb_total;
			g_dbg_dist_hz_1s = g_dbg_dist_cb_count_total - prev_dist_cb_total;
			g_dbg_platoon_sp_hz_1s = g_dbg_platoon_sp_cb_count_total - prev_platoon_sp_cb_total;

			prev_speed_cb_total = g_dbg_speed_cb_count_total;
			prev_dist_cb_total = g_dbg_dist_cb_count_total;
			prev_platoon_sp_cb_total = g_dbg_platoon_sp_cb_count_total;
			g_dbg_hz_window_start_tick += pdMS_TO_TICKS(1000);
		}
		// --------------------------------------

		ctrl_inputs_snapshot_t in = {0};
		TickType_t speed_tick = 0;
		TickType_t dist_tick = 0;
		TickType_t indiv_sp_tick = 0;
		TickType_t platoon_sp_tick = 0;
		TickType_t preceding_speed_tick = 0;
		TickType_t preceding_braking_intent_tick = 0;
		(void)in_mb_read_snapshot(&in, &speed_tick, &dist_tick, &indiv_sp_tick,
								  &platoon_sp_tick, &preceding_speed_tick, &preceding_braking_intent_tick);
		static TickType_t last_speed_tick = 0;
		bool new_speed_sample = (speed_tick != last_speed_tick);
		if (new_speed_sample)
		{
			last_speed_tick = speed_tick;
		}

		// DEBUG -------------------------------
		g_dbg_ctrl_speed_age_ticks = now_ctrl - speed_tick;
		g_dbg_ctrl_dist_age_ticks = now_ctrl - dist_tick;
		g_dbg_ctrl_platoon_sp_age_ticks = now_ctrl - platoon_sp_tick;

		if (g_dbg_ctrl_speed_age_ticks > g_dbg_ctrl_speed_age_ticks_max)
			g_dbg_ctrl_speed_age_ticks_max = g_dbg_ctrl_speed_age_ticks;
		if (g_dbg_ctrl_speed_age_ticks < g_dbg_ctrl_speed_age_ticks_min)
			g_dbg_ctrl_speed_age_ticks_min = g_dbg_ctrl_speed_age_ticks;

		if (g_dbg_ctrl_dist_age_ticks > g_dbg_ctrl_dist_age_ticks_max)
			g_dbg_ctrl_dist_age_ticks_max = g_dbg_ctrl_dist_age_ticks;
		if (g_dbg_ctrl_dist_age_ticks < g_dbg_ctrl_dist_age_ticks_min)
			g_dbg_ctrl_dist_age_ticks_min = g_dbg_ctrl_dist_age_ticks;

		if (g_dbg_ctrl_platoon_sp_age_ticks > g_dbg_ctrl_platoon_sp_age_ticks_max)
			g_dbg_ctrl_platoon_sp_age_ticks_max = g_dbg_ctrl_platoon_sp_age_ticks;
		if (g_dbg_ctrl_platoon_sp_age_ticks < g_dbg_ctrl_platoon_sp_age_ticks_min)
			g_dbg_ctrl_platoon_sp_age_ticks_min = g_dbg_ctrl_platoon_sp_age_ticks;
		//--------------------------------------

		TickType_t now = now_ctrl;
		bool speed_ok = ((TickType_t)(now - speed_tick) <= speedStale);
		bool dist_ok = ((TickType_t)(now - dist_tick) <= distStale);

		// Only step the controller on fresh speed samples. If stale, ramp down.
		if (!new_speed_sample && speed_ok)
		{
			continue;
		}

		if (!dist_ok)
		{
			in.distance_to_front_m = 0.1f;
		}

		if (speed_ok)
		{
			vehicle_controller_inputs_t vc_in = {0};
			vc_in.speed_mps = in.speed_mps;
			vc_in.distance_to_front_m = in.distance_to_front_m;
			vc_in.indiv_setpoint_mps = in.indiv_setpoint_mps;
			vc_in.platoon_setpoint_mps = in.platoon_setpoint_mps;
			vc_in.platoon_enabled = platoon_enabled;
			vc_in.preceding_speed_mps = in.preceding_speed_mps;
			vc_in.preceding_desired_decel_mps2 = in.preceding_braking_intent_mps2;
			vc_in.preceding_desired_decel_rx_tick = (VC_Tick_t)preceding_braking_intent_tick;
			vc_in.preceding_desired_decel_valid = (g_have_preceding_braking_intent != 0);

			vehicle_controller_outputs_t vc_out = {0};
			(void)vehicle_controller_step((vehicle_controller_t *)&vehicle_controller,
									 &controller_params,
									 &vc_in,
									 (VC_Tick_t)now,
									 &vc_out);

			g_dbg_ctrl_compute_count++;
			throttle_out = vc_out.throttle_cmd;
			brake_out = vc_out.brake_cmd;
			braking_intent_out = vc_out.desired_decel_mps2;
			local_sp_out = vc_out.effective_speed_sp_mps;
		}
		else
		{
			// Very simple freshness policy: if speed is stale, ramp actuator outputs to zero
			// if, for some reason, data read fails repeatedly.
			throttle_out = ramp_towards_zero(throttle_out, rampStep);
			brake_out = ramp_towards_zero(brake_out, rampStep);
			braking_intent_out = ramp_towards_zero(braking_intent_out, rampStep);
			local_sp_out = ramp_towards_zero(local_sp_out, rampStep);
		}

		out_mb_write_begin();
		g_out_mb.throttle = throttle_out;
		g_out_mb.brake = brake_out;
		g_out_mb.braking_intent = braking_intent_out;
		g_out_mb.local_sp = local_sp_out;
		g_out_mb.computed_tick = now;
		out_mb_write_end();

		// Notify uROS task to publish new command immediately.
		if (uROSTaskHandle != NULL)
		{
			xTaskNotifyGive((TaskHandle_t)uROSTaskHandle);
		}
	}
	/* USER CODE END StartCrtlTask */
}

void HAL_TIM_PeriodElapsedCallback(TIM_HandleTypeDef *htim)
{
	if (htim->Instance == TIM1)
	{
		HAL_IncTick();
	}
}

void Error_Handler(void)
{
	__disable_irq();
	while (1)
	{
	}
}
